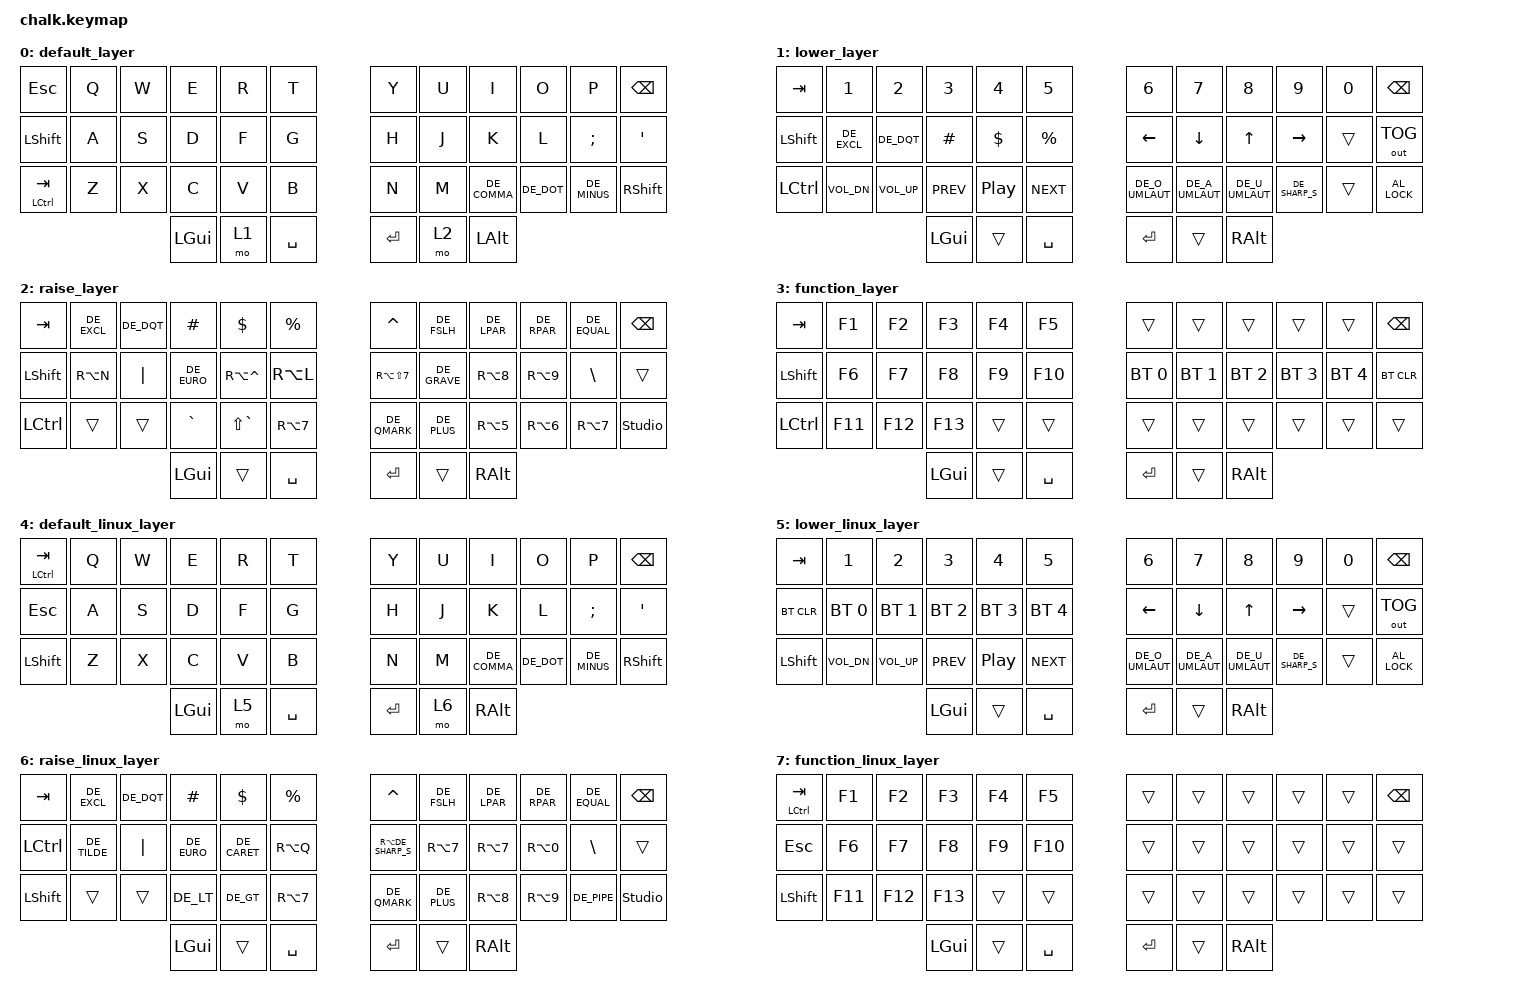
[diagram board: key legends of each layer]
/*
 * Copyright (c) 2020 The ZMK Contributors
 *
 * SPDX-License-Identifier: MIT
 */

#include <behaviors.dtsi>
#include <dt-bindings/zmk/keys.h>
#include <dt-bindings/zmk/bt.h>
#include "keys_de.h"	
#include <dt-bindings/zmk/outputs.h>


/ {
        behaviors {
            esc_ctrl: esc_ctrl {
                compatible = "zmk,behavior-hold-tap";
                #binding-cells = <2>;
                tapping-term-ms = <300>;  
                quick-tap-ms = <120>;      
                flavor = "tap-preferred";   
                require-prior-idle-ms = <120>;
                bindings = <&kp>, <&kp>;  
            };
            ht_timeless: ht_timeless {
                compatible = "zmk,behavior-hold-tap";
                flavor = "hold-preferred";
                tapping-term-ms = <280>;
                #binding-cells = <2>;
                quick-tap-ms = <175>;
                require-prior-idle-ms = <150>;
                bindings = <&kp>, <&mo>;
                hold-trigger-on-release;
            };
        };
        combos {
            compatible = "zmk,combos";
    
            fourth_layer_combo {
                key-positions = <37 40>;  
                timeout-ms = <50>;         
                layers = <0>;               
                bindings = <&mo 3>;         
            };
            linux_function_layer{
                key-positions = <37 40>;  
                timeout-ms = <50>;         
                layers = <4>;               
                bindings = <&mo 8>;         
            };
            linux_layers{
                key-positions = <23 37>;  
                timeout-ms = <50>;         
                layers = <0 4>;               
                bindings = <&tog 4>;         
            };
        };  


        keymap {
                compatible = "zmk,keymap";
	
                default_layer {
                        // -----------------------------------------------------------------------------------------
                        // |  ESC |  Q  |  W  |  E  |  R  |  T  |   |  Y  |  U   |  I  |  O  |  P  | BKSP |
                        // | SHFT |  A  |  S  |  D  |  F  |  G  |   |  H  |  J   |  K  |  L  |  ;  |  '   |
                        // |CTRTAB|  Z  |  X  |  C  |  V  |  B  |   |  N  |  M   |  ,  |  .  |  /  | ESC  |
                        //                    | GUI | LWR | SPC |   | ENT | RSE  | ALT |
                        bindings = <
                            &kp ESC &kp Q &kp W &kp E &kp R &kp T   &kp Y &kp U  &kp I     &kp O   &kp P    &kp BSPC
                            &kp LSHFT &kp A &kp S &kp D &kp F &kp G   &kp H &kp J  &kp K     &kp L   &kp SEMI &kp SQT
                            &esc_ctrl LCTRL TAB &kp Z &kp X &kp C &kp V &kp B   &kp N &kp M  &kp DE_COMMA &kp DE_DOT &kp DE_MINUS &kp RSHFT
                                                    &kp LGUI &mo 1 &kp SPACE   &kp RET &mo 2 &kp LALT
                        >;
                };
                lower_layer {
                        // -----------------------------------------------------------------------------------------
                        // |  TAB |  1  |  2  |  3  |  4  |  5  |   |  6  |  7  |  8  |  9  |  0  | BKSP |
                        // | SHFT |  !  |  "  |  §  |  $  |  %  |   | LFT | DWN |  UP | RGT |     |      |
                        // | CTRL |     |     | Prev| Pau | Next|   |  ö  |  ä   |  ü  |  ß  |     |      |
                        //                    | GUI |     | SPC |   | ENT |     | ALTGR |
                        bindings = <
                            &kp TAB    &kp N1       &kp N2       &kp N3       &kp N4       &kp N5         &kp N6   &kp N7   &kp N8 &kp N9    &kp N0 &kp BSPC
                            &kp LSHFT &kp DE_EXCL &kp DE_DQT &kp HASH &kp DLLR &kp PRCNT   &kp LEFT &kp DOWN &kp UP &kp RIGHT &trans &out OUT_TOG
                            &kp LCTRL  &kp C_VOL_DN &kp C_VOL_UP &kp C_PREV       &kp C_PP       &kp C_NEXT         &kp DE_O_UMLAUT   &kp DE_A_UMLAUT   &kp DE_U_UMLAUT &kp DE_SHARP_S    &trans &kp C_AL_LOCK
                                                            &kp LGUI     &trans       &kp SPACE      &kp RET  &trans   &kp RALT
                        >;
                };

                raise_layer {
                        // -----------------------------------------------------------------------------------------
                        // |  TAB |  !  |  "  |  §  |  $  |  %  |   |  &  |  /  |  (  |  )  |  =  | BKSP |
                        // | SHFT |     |  '  |  €  |  ^  |  @  |   |  \  |  ` |  {  |  }  |  #  |  <   |
                        // | CTRL |     |     |     |  <  |  >  |   |  ?  |  +  |  [  |  ]  | "|" |  >   |
                        //                    | GUI |     | SPC |   | ENT |     | ALTGR |
                        bindings = <
                            &kp  TAB  &kp DE_EXCL &kp DE_DQT &kp HASH &kp DLLR &kp PRCNT   &kp CARET &kp DE_FSLH  &kp DE_LPAR &kp DE_RPAR &kp DE_EQUAL &kp BSPC
                            &kp LSHFT &kp RA(N)   &kp PIPE &kp DE_EURO   &kp RA(CARET)   &kp RA(L) &kp RA(LS(N7)) &kp DE_GRAVE &kp RA(N8)  &kp RA(N9)  &kp BSLH &trans
                            &kp LCTRL &trans   &trans &kp GRAVE &kp LS(GRAVE)  &kp RA(N7) &kp DE_QMARK &kp DE_PLUS  &kp RA(N5)  &kp RA(N6) &kp RA(N7) &studio_unlock
                                                        &kp LGUI &trans   &kp SPACE   &kp RET   &trans    &kp RALT
                        >;
                };


                function_layer{
                        // -----------------------------------------------------------------------------------------
                        // | TAB  |  F1   |  F2    |  F3   |   F4  | F5    |     |     |     |     |     |     | BKSP |
                        // | SHFT |  F6   |  F7    |  F8   |   F9  |  F10  |     | BT0 | BT1 | BT2 | BT3 | BT4 | BTCLR|
                        // | CTRL |  F11  |  F12   |  F13  |       |       |     |     |     |     |     |     |      |
                        //                    | GUI |     | SPC |   | ENT |     | ALTGR |
                        bindings = <
                            &kp  TAB &kp F1  &kp F2  &kp F3  &kp F4  &kp F5       &trans &trans &trans &trans &trans &kp BSPC
                            &kp LSHFT &kp F6  &kp F7  &kp F8  &kp F9  &kp F10      &bt BT_SEL 0 &bt BT_SEL 1 &bt BT_SEL 2 &bt BT_SEL 3 &bt BT_SEL 4 &bt BT_CLR
                            &kp LCTRL &kp F11 &kp F12 &kp F13 &trans  &trans       &trans &trans &trans &trans &trans &trans
                                                      &kp LGUI &trans   &kp SPACE   &kp RET   &trans    &kp RALT
                        >;

                };

                default_linux_layer {
                        // -----------------------------------------------------------------------------------------
                        // |  TAB |  Q  |  W  |  E  |  R  |  T  |   |  Y  |  U   |  I  |  O  |  P  | BKSP |
                        // | CTRL |  A  |  S  |  D  |  F  |  G  |   |  H  |  J   |  K  |  L  |  ;  |  '   |
                        // | SHFT |  Z  |  X  |  C  |  V  |  B  |   |  N  |  M   |  ,  |  .  |  /  | ESC  |
                        //                    | GUI | LWR | SPC |   | ENT | RSE  | ALT |
                        bindings = <
                            &esc_ctrl LCTRL TAB   &kp Q &kp W &kp E &kp R &kp T   &kp Y &kp U  &kp I     &kp O   &kp P    &kp BSPC
                            &kp ESC  &kp A &kp S &kp D &kp F &kp G   &kp H &kp J  &kp K     &kp L   &kp SEMI &kp SQT
                            &kp LSHFT &kp Z &kp X &kp C &kp V &kp B   &kp N &kp M  &kp DE_COMMA &kp DE_DOT &kp DE_MINUS &kp RSHFT
                            &kp LGUI &mo 5 &kp SPACE   &kp RET &mo 6 &kp RALT
                        >;
                };
                lower_linux_layer {
                        // -----------------------------------------------------------------------------------------
                        // |  TAB |  1  |  2  |  3  |  4  |  5  |   |  6  |  7  |  8  |  9  |  0  | BKSP |
                        // | BTCLR| BT1 | BT2 | BT3 | BT4 | BT5 |   | LFT | DWN |  UP | RGT |     |      |
                        // | SHFT |     |     | Prev| Pau | Next|   |  ö  |  ä   |  ü  |  ß  |     |      |
                        //                    | GUI |     | SPC |   | ENT |     | ALT |
                        bindings = <
                            &kp TAB    &kp N1       &kp N2       &kp N3       &kp N4       &kp N5         &kp N6   &kp N7   &kp N8 &kp N9    &kp N0 &kp BSPC
                            &bt BT_CLR &bt BT_SEL 0 &bt BT_SEL 1 &bt BT_SEL 2 &bt BT_SEL 3 &bt BT_SEL 4   &kp LEFT &kp DOWN &kp UP &kp RIGHT &trans &out OUT_TOG
                            &kp LSHFT  &kp C_VOL_DN &kp C_VOL_UP &kp C_PREV       &kp C_PP       &kp C_NEXT         &kp DE_O_UMLAUT   &kp DE_A_UMLAUT   &kp DE_U_UMLAUT &kp DE_SHARP_S    &trans &kp C_AL_LOCK
                                                            &kp LGUI     &trans       &kp SPACE      &kp RET  &trans   &kp RALT
                        >;
                };

                raise_linux_layer {
                        // -----------------------------------------------------------------------------------------
                        // |  TAB |  !  |  "  |  §  |  $  |  %  |   |  &  |  /  |  (  |  )  |  =  | BKSP |
                        // | CTRL |     |  '  |  €  |  ^  |  @  |   |  \  |  ` |  {  |  }  |  #  |  <   |
                        // | SHFT |     |     |     |  <  |  >  |   |  ?  |  +  |  [  |  ]  | "|" |  >   |
                        //                    | GUI |     | SPC |   | ENT |     | ALT |
                        bindings = <
                             &kp  TAB  &kp DE_EXCL &kp DE_DQT &kp HASH &kp DLLR &kp PRCNT   &kp CARET &kp DE_FSLH  &kp DE_LPAR &kp DE_RPAR &kp DE_EQUAL &kp BSPC
                             &kp LCTRL &kp DE_TILDE   &kp PIPE &kp DE_EURO   &kp DE_CARET   &kp RA(Q) &kp RA(DE_SHARP_S) &kp RA(N7) &kp RA(N7)  &kp RA(N0)  &kp BSLH &trans
                             &kp LSHFT &trans   &trans &kp DE_LT &kp DE_GT  &kp RA(N7) &kp DE_QMARK &kp DE_PLUS  &kp RA(N8)  &kp RA(N9) &kp DE_PIPE &studio_unlock
                                                        &kp LGUI &trans   &kp SPACE   &kp RET   &trans    &kp RALT
                        >;
                };



                function_linux_layer{
                        // -----------------------------------------------------------------------------------------
                        // | TAB  |  F1   |  F2    |  F3   |   F4  | F5    |     |     |     |     |     |     | BKSP |
                        // | CTRL |  F6   |  F7    |  F8   |   F9  |  F10  |     |     |     |     |     |     |      |
                        // | SHFT |  F11  |  F12   |  F13  |       |       |     |     |     |     |     |     |      |
                        //                    | GUI |     | SPC |   | ENT |     | ALT |
                        bindings = <
                            &esc_ctrl LCTRL TAB &kp F1  &kp F2  &kp F3  &kp F4  &kp F5       &trans &trans &trans &trans &trans &kp BSPC
                            &kp ESC &kp F6  &kp F7  &kp F8  &kp F9  &kp F10      &trans &trans &trans &trans &trans &trans
                            &kp LSHFT &kp F11 &kp F12 &kp F13 &trans  &trans       &trans &trans &trans &trans &trans &trans
                                                      &kp LGUI &trans   &kp SPACE   &kp RET   &trans    &kp RALT
                        >;

                };
        };
};
